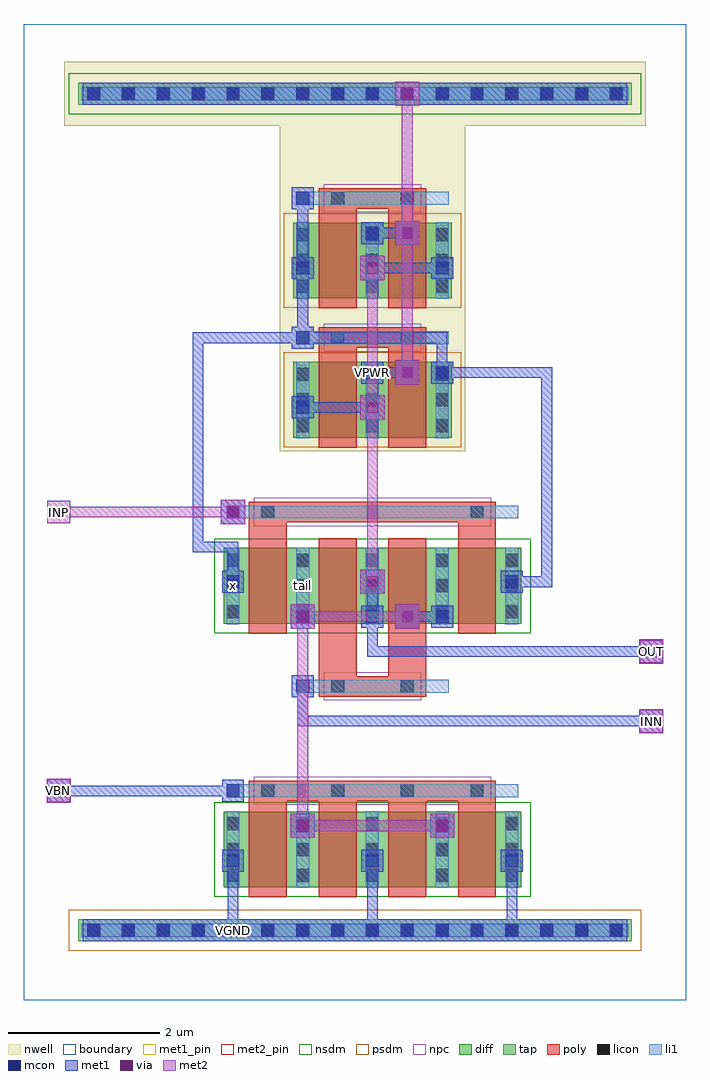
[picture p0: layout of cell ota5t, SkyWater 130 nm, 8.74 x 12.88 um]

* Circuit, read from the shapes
.subckt ota5t INN INP OUT VBN VGND VPWR tail x
XM1 tail VBN VGND VGND sky130_fd_pr__nfet_01v8 w=1 l=0.5 m=4
XM2 tail INP x VGND sky130_fd_pr__nfet_01v8 w=1 l=0.5 m=2
XM3 OUT INN tail VGND sky130_fd_pr__nfet_01v8 w=1 l=0.5 m=2
XM4 VPWR x OUT VPWR sky130_fd_pr__pfet_01v8 w=1 l=0.5 m=2
XM5 VPWR x x VPWR sky130_fd_pr__pfet_01v8 w=1 l=0.5 m=2
.ends

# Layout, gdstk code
import gdstk
lib = gdstk.Library(unit=1e-6, precision=1e-09)
def R(c, l, rs):  # rectangles x0, y0, x1, y1
    for r in rs: c.add(gdstk.rectangle(r[:2], r[2:], *l))
def A(c, l, x, y, w, h, nx, ny, dx, dy):  # array of equal rectangles
    R(c, l, [(x+i*dx, y+j*dy, x+i*dx+w, y+j*dy+h) for i in range(nx) for j in range(ny)])
nwell = (64, 20)
diff = (65, 20)
tap = (65, 44)
poly = (66, 20)
licon = (66, 44)
li1 = (67, 20)
mcon = (67, 44)
met1_pin = (68, 16)
met1 = (68, 20)
via = (68, 44)
met2_pin = (69, 16)
met2 = (69, 20)
nsdm = (93, 44)
psdm = (94, 20)
npc = (95, 20)
boundary = (235, 4)

ota5t = lib.new_cell('ota5t')
R(ota5t, nwell, [(3.375,7.24,5.825,11.54), (0.535,11.54,8.205,12.38)])
R(ota5t, diff, [(2.635,1.485,6.565,2.485), (2.635,4.965,6.565,5.965), (3.555,7.42,5.645,8.42), (3.555,9.26,5.645,10.26)])
R(ota5t, tap, [(0.715,0.775,8.025,1.065), (0.715,11.815,8.025,12.105)])
A(ota5t, poly, 2.97, 1.355, 0.5, 1.405, 4, 1, 0.92, 0)
R(ota5t, poly, [(2.97,2.625,6.23,2.895), (3.89,4.005,5.31,4.275), (3.89,4.14,4.39,6.095), (4.81,4.14,5.31,6.095), (2.97,4.835,3.47,6.44), (5.73,4.835,6.23,6.44), (2.97,6.305,6.23,6.575), (3.89,7.29,4.39,8.74), (4.81,7.29,5.31,8.74), (3.89,8.605,5.31,8.875), (3.89,9.13,4.39,10.58), (4.81,9.13,5.31,10.58), (3.89,10.445,5.31,10.715)])
A(ota5t, licon, 0.835, 0.835, 0.17, 0.17, 16, 2, 0.46, 11.04)
A(ota5t, licon, 2.675, 1.56, 0.17, 0.17, 5, 3, 0.92, 0.34)
A(ota5t, licon, 3.135, 2.675, 0.17, 0.17, 4, 1, 0.92, 0)
A(ota5t, licon, 2.675, 5.04, 0.17, 0.17, 5, 3, 0.92, 0.34)
A(ota5t, licon, 3.595, 7.495, 0.17, 0.17, 3, 3, 0.92, 0.34)
A(ota5t, licon, 3.595, 9.335, 0.17, 0.17, 3, 3, 0.92, 0.34)
R(ota5t, licon, [(4.055,4.055,4.225,4.225), (4.975,4.055,5.145,4.225), (3.135,6.355,3.305,6.525), (5.895,6.355,6.065,6.525), (4.055,8.655,4.225,8.825), (4.975,8.655,5.145,8.825), (4.055,10.495,4.225,10.665), (4.975,10.495,5.145,10.665)])
A(ota5t, li1, 2.675, 1.48, 0.17, 1.01, 5, 2, 0.92, 3.48)
A(ota5t, li1, 3.595, 7.415, 0.17, 1.01, 3, 2, 0.92, 1.84)
R(ota5t, li1, [(0.755,0.835,7.985,1.005), (2.675,2.675,6.525,2.845), (3.595,4.055,5.605,4.225), (2.675,6.355,6.525,6.525), (3.595,8.655,5.605,8.825), (3.595,10.495,5.605,10.665), (0.755,11.875,7.985,12.045)])
A(ota5t, mcon, 0.835, 0.835, 0.17, 0.17, 16, 2, 0.46, 11.04)
A(ota5t, mcon, 2.675, 1.755, 0.17, 0.17, 3, 1, 1.84, 0)
A(ota5t, mcon, 3.595, 4.975, 0.17, 0.17, 3, 1, 0.92, 0)
A(ota5t, mcon, 3.595, 7.735, 0.17, 0.17, 1, 4, 0, 0.92)
R(ota5t, mcon, [(3.595,2.215,3.765,2.385), (5.435,2.215,5.605,2.385), (2.675,2.675,2.845,2.845), (3.595,4.055,3.765,4.225), (2.675,5.435,2.845,5.605), (6.355,5.435,6.525,5.605), (2.675,6.355,2.845,6.525), (4.515,8.195,4.685,8.365), (5.435,8.195,5.605,8.365), (5.435,9.575,5.605,9.745), (4.515,10.035,4.685,10.205)])
R(ota5t, met1_pin, [(2.69,0.85,2.83,0.99), (4.455,8.135,4.745,8.425)])
A(ota5t, met1, 2.69, 0.85, 0.14, 1.06, 3, 1, 1.84, 0)
A(ota5t, met1, 2.615, 1.695, 0.29, 0.29, 3, 1, 1.84, 0)
A(ota5t, met1, 3.535, 4.915, 0.29, 0.29, 3, 1, 0.92, 0)
A(ota5t, met1, 3.535, 7.675, 0.29, 0.29, 1, 4, 0, 0.92)
A(ota5t, met1, 4.9, 8.12, 0.32, 0.32, 1, 3, 0, 1.84)
R(ota5t, met1, [(0.775,0.775,7.965,1.065), (2.69,0.85,2.83,0.99), (2.69,0.85,4.67,0.99), (4.53,0.85,6.51,0.99), (3.52,2.14,3.84,2.46), (5.36,2.14,5.68,2.46), (3.535,2.155,3.825,2.445), (5.375,2.155,5.665,2.445), (0.3,2.6,0.62,2.92), (2.615,2.615,2.905,2.905), (0.39,2.69,2.83,2.83), (8.12,3.52,8.44,3.84), (3.61,3.61,3.75,4.21), (3.61,3.61,8.35,3.75), (3.535,3.995,3.825,4.285), (8.12,4.44,8.44,4.76), (4.53,4.53,4.67,5.13), (4.53,4.53,8.35,4.67), (3.52,4.9,3.84,5.22), (4.9,4.9,5.22,5.22), (4.53,4.99,4.67,5.59), (4.99,4.99,5.59,5.13), (4.44,5.36,4.76,5.68), (2.615,5.375,2.905,5.665), (6.295,5.375,6.585,5.665), (2.69,5.45,2.83,6.05), (6.37,5.45,6.97,5.59), (6.83,5.45,6.97,8.35), (2.23,5.91,2.83,6.05), (2.23,5.91,2.37,8.81), (2.6,6.28,2.92,6.6), (2.615,6.295,2.905,6.585), (4.44,7.66,4.76,7.98), (3.61,7.75,4.67,7.89), (4.455,8.135,4.745,8.425), (5.375,8.135,5.665,8.425), (4.53,8.21,5.13,8.35), (5.45,8.21,5.59,8.81), (5.45,8.21,6.97,8.35), (2.23,8.67,3.75,8.81), (3.61,8.67,3.75,9.73), (3.61,8.67,5.59,8.81), (4.44,9.5,4.76,9.82), (5.375,9.515,5.665,9.805), (3.61,9.59,3.75,10.65), (4.53,9.59,5.59,9.73), (4.455,9.975,4.745,10.265), (4.53,10.05,5.13,10.19), (0.775,11.815,7.965,12.105), (4.99,11.89,5.13,12.03)])
A(ota5t, via, 4.985, 8.205, 0.15, 0.15, 1, 3, 0, 1.84)
R(ota5t, via, [(3.605,2.225,3.755,2.375), (5.445,2.225,5.595,2.375), (0.385,2.685,0.535,2.835), (8.205,3.605,8.355,3.755), (8.205,4.525,8.355,4.675), (3.605,4.985,3.755,5.135), (4.985,4.985,5.135,5.135), (4.525,5.445,4.675,5.595), (2.685,6.365,2.835,6.515), (4.525,7.745,4.675,7.895), (4.525,9.585,4.675,9.735)])
R(ota5t, met2_pin, [(0.31,2.61,0.61,2.91), (8.13,3.53,8.43,3.83), (8.13,4.45,8.43,4.75), (0.31,6.29,0.61,6.59)])
A(ota5t, met2, 4.9, 8.12, 0.32, 0.32, 1, 3, 0, 1.84)
R(ota5t, met2, [(3.52,2.14,3.84,2.46), (5.36,2.14,5.68,2.46), (3.61,2.23,3.75,5.13), (3.61,2.23,5.59,2.37), (0.3,2.6,0.62,2.92), (0.31,2.61,0.61,2.91), (0.39,2.69,0.53,2.83), (8.12,3.52,8.44,3.84), (8.13,3.53,8.43,3.83), (8.21,3.61,8.35,3.75), (8.12,4.44,8.44,4.76), (8.13,4.45,8.43,4.75), (8.21,4.53,8.35,4.67), (3.52,4.9,3.84,5.22), (4.9,4.9,5.22,5.22), (3.61,4.99,5.13,5.13), (4.44,5.36,4.76,5.68), (4.53,5.45,4.67,7.89), (2.6,6.28,2.92,6.6), (0.31,6.29,0.61,6.59), (0.39,6.37,0.53,6.51), (0.39,6.37,2.83,6.51), (4.44,7.66,4.76,7.98), (4.53,7.75,4.67,9.73), (4.99,8.21,5.13,10.19), (4.44,9.5,4.76,9.82), (4.99,10.05,5.13,12.03)])
R(ota5t, nsdm, [(2.51,1.36,6.69,2.61), (2.51,4.84,6.69,6.09), (0.59,11.69,8.15,12.23)])
R(ota5t, psdm, [(0.59,0.65,8.15,1.19), (3.43,7.295,5.77,8.545), (3.43,9.135,5.77,10.385)])
R(ota5t, npc, [(3.035,2.575,6.165,2.945), (3.955,3.955,5.245,4.325), (3.035,6.255,6.165,6.625), (3.955,8.555,5.245,8.925), (3.955,10.395,5.245,10.765)])
R(ota5t, boundary, [(0,0,8.74,12.88)])
ota5t.add(gdstk.Label('x', (2.76,5.465), layer=67, texttype=5))
ota5t.add(gdstk.Label('tail', (3.68,5.465), layer=67, texttype=5))
ota5t.add(gdstk.Label('VPWR', (4.6,8.28), layer=68, texttype=5))
ota5t.add(gdstk.Label('VGND', (2.76,0.92), layer=68, texttype=5))
ota5t.add(gdstk.Label('INP', (0.46,6.44), layer=69, texttype=5))
ota5t.add(gdstk.Label('INN', (8.28,3.68), layer=69, texttype=5))
ota5t.add(gdstk.Label('VBN', (0.46,2.76), layer=69, texttype=5))
ota5t.add(gdstk.Label('OUT', (8.28,4.6), layer=69, texttype=5))
ota5t.add(gdstk.Label('VPWR', (4.6,8.28), layer=68, texttype=16))
ota5t.add(gdstk.Label('VGND', (2.76,0.92), layer=68, texttype=16))
ota5t.add(gdstk.Label('INP', (0.46,6.44), layer=69, texttype=16))
ota5t.add(gdstk.Label('INN', (8.28,3.68), layer=69, texttype=16))
ota5t.add(gdstk.Label('VBN', (0.46,2.76), layer=69, texttype=16))
ota5t.add(gdstk.Label('OUT', (8.28,4.6), layer=69, texttype=16))

lib.write_gds('ota5t.gds')
